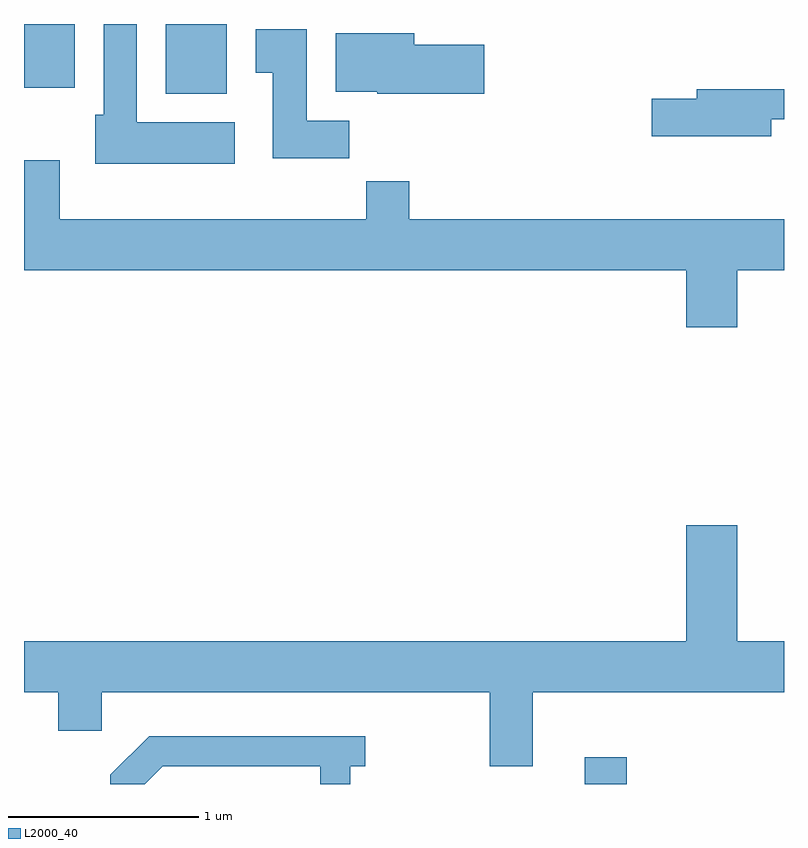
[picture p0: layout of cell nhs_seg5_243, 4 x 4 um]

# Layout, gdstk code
import gdstk
lib = gdstk.Library(unit=1e-6, precision=1e-09)
def R(c, l, rs):  # rectangles x0, y0, x1, y1
    for r in rs: c.add(gdstk.rectangle(r[:2], r[2:], *l))
def P(c, l, *ps):  # polygons
    for p in ps: c.add(gdstk.Polygon(p, *l))
L2000_40 = (2000, 40)

nhs_seg5_243 = lib.new_cell('nhs_seg5_243')
R(nhs_seg5_243, L2000_40, [(194.561,1474.072,194.784,1474.214), (192.356,1477.706,192.679,1478.072), (191.611,1477.736,191.879,1478.072)])
P(nhs_seg5_243, L2000_40, [(192.719,1477.554),(192.204,1477.554),(192.204,1478.072),(192.031,1478.072),(192.031,1477.594),(191.986,1477.594),(191.986,1477.336),(192.719,1477.336)],
  [(193.324,1477.564),(193.099,1477.564),(193.099,1478.044),(192.831,1478.044),(192.831,1477.816),(192.921,1477.816),(192.921,1477.366),(193.324,1477.366)],
  [(194.034,1477.964),(193.664,1477.964),(193.664,1478.024),(193.251,1478.024),(193.251,1477.716),(193.47,1477.716),(193.47,1477.706),(194.034,1477.706)],
  [(195.544,1477.571),(195.611,1477.571),(195.611,1477.729),(195.151,1477.729),(195.151,1477.679),(194.916,1477.679),(194.916,1477.481),(195.544,1477.481)],
  [(195.364,1476.776),(195.611,1476.776),(195.611,1477.044),(193.639,1477.044),(193.639,1477.244),(193.411,1477.244),(193.411,1477.044),(191.799,1477.044),(191.799,1477.354),(191.611,1477.354),(191.611,1476.776),(195.096,1476.776),(195.096,1476.476),(195.364,1476.476)],
  [(194.289,1474.556),(195.611,1474.556),(195.611,1474.824),(195.364,1474.824),(195.364,1475.434),(195.096,1475.434),(195.096,1474.824),(191.611,1474.824),(191.611,1474.556),(191.791,1474.556),(191.791,1474.351),(192.019,1474.351),(192.019,1474.556),(194.061,1474.556),(194.061,1474.166),(194.289,1474.166)],
  [(192.342,1474.166),(193.171,1474.166),(193.171,1474.072),(193.329,1474.072),(193.329,1474.166),(193.408,1474.166),(193.408,1474.324),(192.269,1474.324),(192.066,1474.122),(192.066,1474.072),(192.247,1474.072)])

lib.write_gds('nhs_seg5_243.gds')
